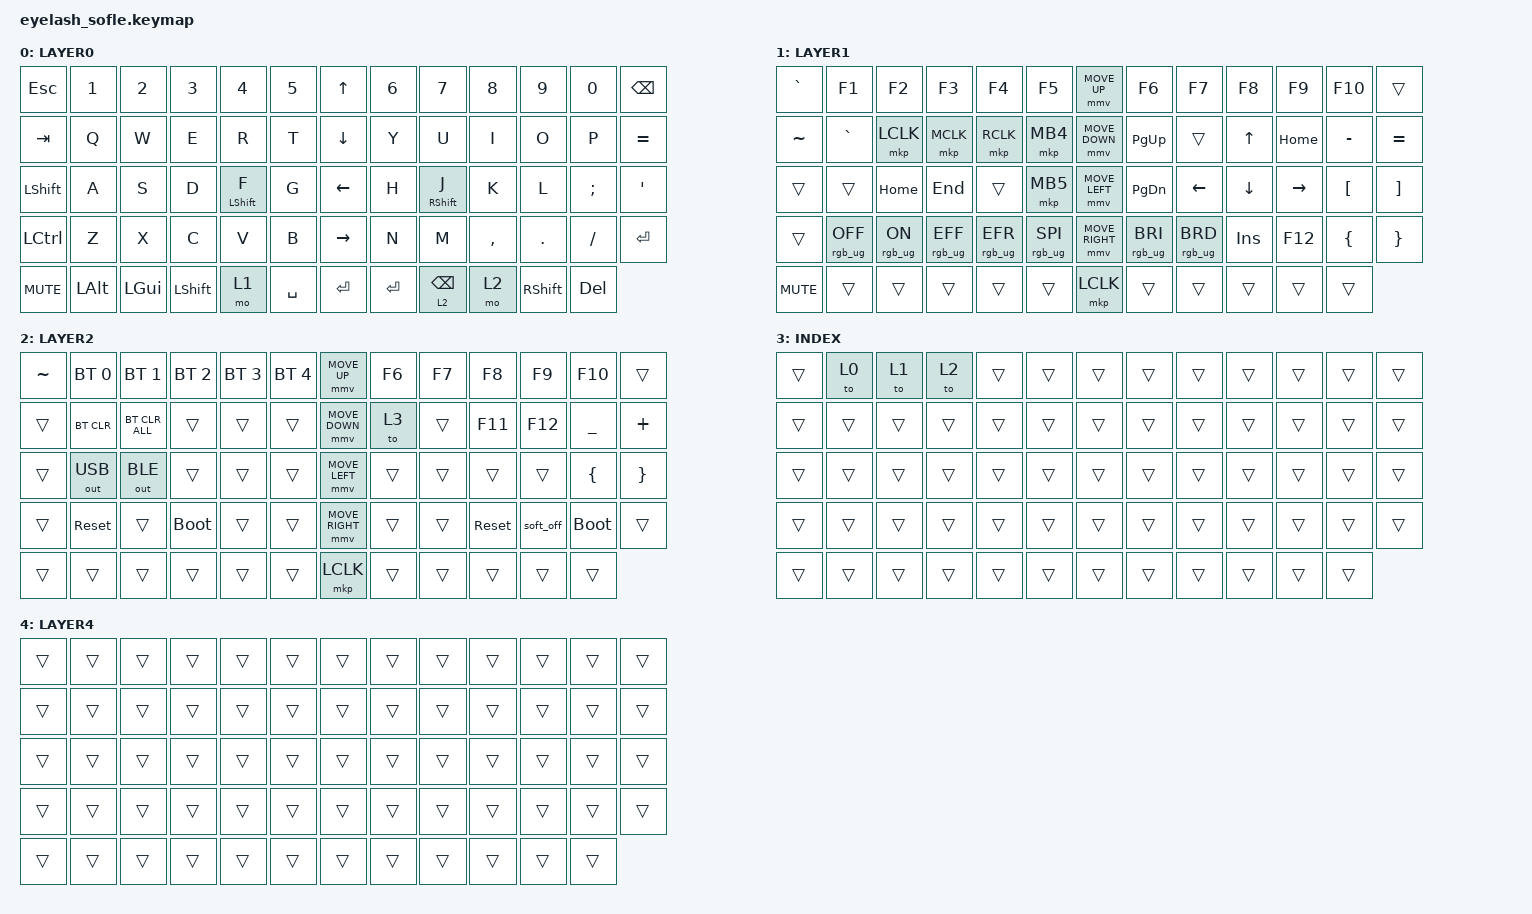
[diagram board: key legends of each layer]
#define ZMK_POINTING_DEFAULT_MOVE_VAL 1200  // 600
#define ZMK_POINTING_DEFAULT_SCRL_VAL 25   // 10

#include <input/processors.dtsi>
#include <zephyr/dt-bindings/input/input-event-codes.h>
#include <behaviors.dtsi>
#include <dt-bindings/zmk/bt.h>
#include <dt-bindings/zmk/keys.h>
#include <dt-bindings/zmk/outputs.h>
#include <dt-bindings/zmk/pointing.h>
#include <dt-bindings/zmk/rgb.h>

&mmv_input_listener { input-processors = <&zip_xy_scaler 2 1>; };

&msc_input_listener { input-processors = <&zip_scroll_scaler 2 1>; };

&msc {
    acceleration-exponent = <1>;      // 0
    time-to-max-speed-ms = <100>;       // 300
    delay-ms = <0>;                   // 0
};

&mmv {
    time-to-max-speed-ms = <500>;
    acceleration-exponent = <1>;
    trigger-period-ms = <16>;
};

&soft_off { hold-time-ms = <2000>; };

&mt {
    tapping-term-ms = <200>;
    flavor = "balanced";
};

/ {
    combos {
        compatible = "zmk,combos";

        softoff {
            bindings = <&soft_off>;
            key-positions = <14 28 40>;
        };
    };

    macros {
        SHIFT_MCLK: SHIFT_MCLK {
            compatible = "zmk,behavior-macro";
            #binding-cells = <0>;
            bindings =
                <&macro_press>,
                <&kp LEFT_SHIFT>,
                <&macro_press>,
                <&mkp MB3>,
                <&macro_pause_for_release>,
                <&macro_release>,
                <&kp LEFT_SHIFT &mkp MB3>;

            label = "SHIFT_MCLK";
        };

        lol_generic_ping: lol_generic_ping {
            compatible = "zmk,behavior-macro";
            #binding-cells = <0>;
            bindings = <&kp G &mkp MB1>;
            label = "LOL_GENERIC_PING";
        };

        lol_glhf: lol_glhf {
            compatible = "zmk,behavior-macro";
            #binding-cells = <0>;
            bindings = <&kp SLASH &kp G &kp L &kp H &kp F &kp ENTER>;
            label = "LOL_GLHF";
        };
    };

    keymap {
        compatible = "zmk,keymap";

        layer0 {
            bindings = <
&kp ESC     &kp N1        &kp N2        &kp N3      &kp N4            &kp N5       &kp UP_ARROW     &kp N6     &kp N7           &kp N8     &kp N9           &kp N0      &kp BACKSPACE
&kp TAB     &kp Q         &kp W         &kp E       &kp R             &kp T        &kp DOWN_ARROW   &kp Y      &kp U            &kp I      &kp O            &kp P       &kp EQUAL
&kp LSHFT   &kp A         &kp S         &kp D       &mt LEFT_SHIFT F  &kp G        &kp LEFT_ARROW   &kp H      &mt RSHFT J      &kp K      &kp L            &kp SEMI    &kp APOS
&kp LCTRL   &kp Z         &kp X         &kp C       &kp V             &kp B        &kp RIGHT_ARROW  &kp N      &kp M            &kp COMMA  &kp DOT          &kp FSLH    &kp ENTER
&kp C_MUTE  &kp LEFT_ALT  &kp LEFT_GUI  &kp LSHIFT  &mo 1             &kp SPACE    &kp ENTER        &kp ENTER  &lt 2 BACKSPACE  &mo 2      &kp RIGHT_SHIFT  &kp DELETE
            >;

            display-name = "LAYER0";
        };

        layer_1 {
            bindings = <
&kp GRAVE   &kp F1           &kp F2          &kp F3           &kp F4           &kp F5             &mmv MOVE_UP     &kp F6           &kp F7           &kp F8      &kp F9     &kp F10           &trans
&kp TILDE   &kp GRAVE        &mkp LCLK       &mkp MCLK        &mkp RCLK        &mkp MB4           &mmv MOVE_DOWN   &kp PG_UP        &trans           &kp UP      &kp HOME   &kp MINUS         &kp EQUAL
&trans      &trans           &kp HOME        &kp END          &trans           &mkp MB5           &mmv MOVE_LEFT   &kp PG_DN        &kp LEFT         &kp DOWN    &kp RIGHT  &kp LEFT_BRACKET  &kp RIGHT_BRACKET
&trans      &rgb_ug RGB_OFF  &rgb_ug RGB_ON  &rgb_ug RGB_EFF  &rgb_ug RGB_EFR  &rgb_ug RGB_SPI    &mmv MOVE_RIGHT  &rgb_ug RGB_BRI  &rgb_ug RGB_BRD  &kp INSERT  &kp F12    &kp LEFT_BRACE    &kp RIGHT_BRACE
&kp C_MUTE  &trans           &trans          &trans           &trans           &trans             &mkp LCLK        &trans           &trans           &trans      &trans     &trans
            >;

            display-name = "LAYER1";
        };

        layer_2 {
            bindings = <
&kp TILDE  &bt BT_SEL 0  &bt BT_SEL 1    &bt BT_SEL 2  &bt BT_SEL 3  &bt BT_SEL 4    &mmv MOVE_UP     &kp F6  &kp F7  &kp F8      &kp F9     &kp F10      &trans
&trans     &bt BT_CLR    &bt BT_CLR_ALL  &trans        &trans        &trans          &mmv MOVE_DOWN   &to 3   &trans  &kp F11     &kp F12    &kp UNDER    &kp PLUS
&trans     &out OUT_USB  &out OUT_BLE    &trans        &trans        &trans          &mmv MOVE_LEFT   &trans  &trans  &trans      &trans     &kp LBRC     &kp RBRC
&trans     &sys_reset    &trans          &bootloader   &trans        &trans          &mmv MOVE_RIGHT  &trans  &trans  &sys_reset  &soft_off  &bootloader  &trans
&trans     &trans        &trans          &trans        &trans        &trans          &mkp LCLK        &trans  &trans  &trans      &trans     &trans
            >;

            display-name = "LAYER2";
        };

        INDEX {
            bindings = <
&trans  &to 0   &to 1   &to 2   &trans  &trans    &trans  &trans  &trans  &trans  &trans  &trans  &trans
&trans  &trans  &trans  &trans  &trans  &trans    &trans  &trans  &trans  &trans  &trans  &trans  &trans
&trans  &trans  &trans  &trans  &trans  &trans    &trans  &trans  &trans  &trans  &trans  &trans  &trans
&trans  &trans  &trans  &trans  &trans  &trans    &trans  &trans  &trans  &trans  &trans  &trans  &trans
&trans  &trans  &trans  &trans  &trans  &trans    &trans  &trans  &trans  &trans  &trans  &trans
            >;

            display-name = "INDEX";
        };

        layer_4 {
            bindings = <
&trans  &trans  &trans  &trans  &trans  &trans    &trans  &trans  &trans  &trans  &trans  &trans  &trans
&trans  &trans  &trans  &trans  &trans  &trans    &trans  &trans  &trans  &trans  &trans  &trans  &trans
&trans  &trans  &trans  &trans  &trans  &trans    &trans  &trans  &trans  &trans  &trans  &trans  &trans
&trans  &trans  &trans  &trans  &trans  &trans    &trans  &trans  &trans  &trans  &trans  &trans  &trans
&trans  &trans  &trans  &trans  &trans  &trans    &trans  &trans  &trans  &trans  &trans  &trans
            >;

            display-name = "LAYER4";
        };
    };
};
